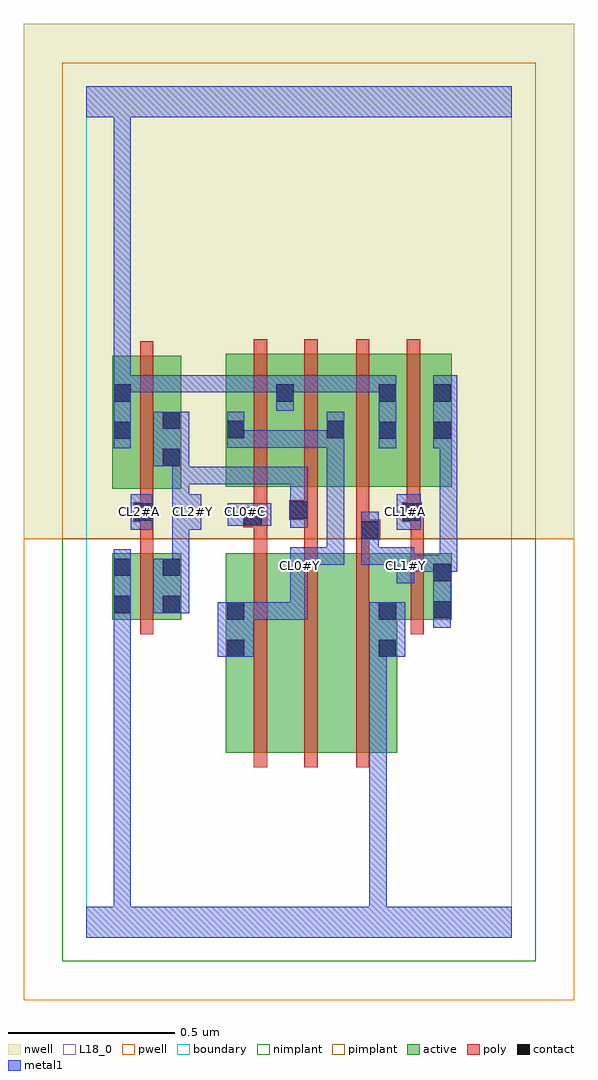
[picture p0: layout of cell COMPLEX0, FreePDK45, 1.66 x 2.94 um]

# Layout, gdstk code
import gdstk
lib = gdstk.Library(unit=1e-6, precision=1e-09)
def R(c, l, rs):  # rectangles x0, y0, x1, y1
    for r in rs: c.add(gdstk.rectangle(r[:2], r[2:], *l))
def A(c, l, x, y, w, h, nx, ny, dx, dy):  # array of equal rectangles
    R(c, l, [(x+i*dx, y+j*dy, x+i*dx+w, y+j*dy+h) for i in range(nx) for j in range(ny)])
active = (1, 0)
pwell = (2, 0)
nwell = (3, 0)
nimplant = (4, 0)
pimplant = (5, 0)
poly = (9, 0)
contact = (10, 0)
metal1 = (11, 0)
L18_0 = (18, 0)
boundary = (235, 0)

complex0 = lib.new_cell('COMPLEX0')
R(complex0, active, [(0.42,0.556,0.48,1.156), (0.42,0.556,0.6,1.156), (0.6,0.556,0.752,1.156), (0.752,0.556,0.936,1.156), (0.876,0.556,0.936,1.156), (0.078,0.956,0.138,1.156), (0.078,0.956,0.286,1.156), (0.226,0.956,0.286,1.156), (0.876,0.956,1.1,1.156), (1.04,0.956,1.1,1.156), (0.078,1.35,0.286,1.75), (0.078,1.35,0.138,1.668), (0.226,1.35,0.286,1.644), (0.42,1.356,0.48,1.644), (0.42,1.356,0.628,1.756), (0.568,1.356,0.628,1.668), (0.568,1.356,0.78,1.756), (0.72,1.356,0.936,1.756), (0.72,1.356,0.78,1.644), (0.876,1.356,0.936,1.668), (0.876,1.356,1.1,1.756), (1.04,1.356,1.1,1.668)])
R(complex0, pwell, [(-0.188,-0.188,1.468,1.2)])
R(complex0, nwell, [(-0.188,1.2,1.468,2.748)])
R(complex0, nimplant, [(-0.072,-0.072,1.352,1.2)])
R(complex0, pimplant, [(-0.072,1.2,1.352,2.632)])
R(complex0, poly, [(0.504,0.512,0.544,1.2), (0.656,0.512,0.696,1.2), (0.812,0.512,0.852,1.2), (0.162,0.912,0.202,1.2), (0.976,0.912,1.016,1.2), (0.162,1.16,0.202,1.29), (0.504,1.16,0.544,1.274), (0.656,1.16,0.696,1.296), (0.812,1.16,0.852,1.236), (0.976,1.16,1.016,1.29), (0.812,1.196,0.884,1.256), (0.812,1.216,0.852,1.256), (0.812,1.216,0.852,1.256), (0.812,1.216,0.852,1.352), (0.472,1.234,0.544,1.294), (0.142,1.25,0.202,1.31), (0.95,1.25,1.01,1.31), (0.97,1.25,1.01,1.29), (0.97,1.25,1.016,1.29), (0.504,1.254,0.544,1.294), (0.504,1.254,0.544,1.294), (0.504,1.254,0.544,1.352), (0.61,1.256,0.696,1.316), (0.656,1.256,0.696,1.296), (0.656,1.256,0.696,1.296), (0.162,1.27,0.202,1.31), (0.162,1.27,0.202,1.31), (0.162,1.27,0.202,1.346), (0.964,1.27,1.004,1.352), (0.656,1.276,0.696,1.352), (0.162,1.306,0.202,1.794), (0.504,1.312,0.544,1.8), (0.656,1.312,0.696,1.8), (0.812,1.312,0.852,1.8), (0.964,1.312,1.004,1.8)])
R(complex0, contact, [(0.424,0.844,0.476,0.896), (0.88,0.844,0.932,0.896), (0.424,0.956,0.476,1.008), (0.88,0.956,0.932,1.008), (1.044,0.96,1.096,1.012), (0.082,0.976,0.134,1.028), (0.23,0.976,0.282,1.028), (1.044,1.072,1.096,1.124), (0.082,1.088,0.134,1.14), (0.23,1.088,0.282,1.14), (0.828,1.2,0.88,1.252), (0.476,1.238,0.528,1.29), (0.146,1.254,0.198,1.306), (0.954,1.254,1.006,1.306), (0.614,1.26,0.666,1.312), (0.23,1.418,0.282,1.47), (0.082,1.5,0.134,1.552), (0.88,1.5,0.932,1.552), (1.044,1.5,1.096,1.552), (0.424,1.502,0.476,1.554), (0.724,1.502,0.776,1.554), (0.23,1.53,0.282,1.582), (0.082,1.612,0.134,1.664), (0.572,1.612,0.624,1.664), (0.88,1.612,0.932,1.664), (1.044,1.612,1.096,1.664)])
A(complex0, metal1, 0.504, 1.64, 0.052, 0.052, 3, 1, 0.11, 0)
R(complex0, metal1, [(0,0,1.28,0.092), (0.082,0.04,0.134,0.092), (0.082,0.04,0.134,0.092), (0.082,0.04,0.134,0.092), (0.082,0.04,0.134,0.092), (0.082,0.04,0.134,0.092), (0.082,0.04,0.134,0.092), (0.082,0.04,0.134,0.092), (0.082,0.04,0.134,0.092), (0.082,0.04,0.134,1), (0.852,0.04,0.904,0.896), (0.396,0.844,0.504,1.008), (0.852,0.844,0.904,0.896), (0.852,0.844,0.904,0.896), (0.852,0.844,0.904,0.896), (0.852,0.844,0.904,0.896), (0.852,0.844,0.904,0.896), (0.852,0.844,0.904,0.896), (0.852,0.844,0.904,0.896), (0.852,0.844,0.904,0.896), (0.852,0.844,0.96,1.008), (1.044,0.932,1.096,1.152), (0.082,0.948,0.134,1), (0.082,0.948,0.134,1), (0.082,0.948,0.134,1), (0.082,0.948,0.134,1), (0.082,0.948,0.134,1), (0.082,0.948,0.134,1), (0.082,0.948,0.134,1), (0.082,0.948,0.134,1), (0.082,0.948,0.134,1.168), (0.452,0.956,0.504,1.008), (0.452,0.956,0.504,1.008), (0.452,0.956,0.666,1.008), (0.614,0.956,0.666,1.008), (0.614,0.956,0.666,1.118), (0.202,0.976,0.31,1.14), (0.614,1.066,0.666,1.174), (0.934,1.066,0.986,1.174), (0.258,1.088,0.31,1.278), (0.934,1.1,0.99,1.152), (0.938,1.1,0.99,1.152), (0.938,1.1,1.096,1.152), (1.044,1.1,1.096,1.152), (1.044,1.1,1.116,1.152), (1.064,1.1,1.116,1.524), (0.614,1.122,0.666,1.174), (0.614,1.122,0.666,1.174), (0.614,1.122,0.776,1.174), (0.724,1.122,0.776,1.174), (0.724,1.122,0.776,1.526), (0.828,1.122,0.986,1.174), (0.828,1.122,0.88,1.28), (0.134,1.226,0.198,1.334), (0.258,1.226,0.346,1.334), (0.934,1.226,1.006,1.334), (0.614,1.232,0.666,1.34), (0.426,1.238,0.556,1.306), (0.258,1.282,0.31,1.416), (0.614,1.288,0.666,1.34), (0.614,1.288,0.666,1.416), (0.258,1.364,0.31,1.416), (0.258,1.364,0.31,1.416), (0.258,1.364,0.31,1.416), (0.258,1.364,0.456,1.416), (0.258,1.364,0.31,1.47), (0.404,1.364,0.456,1.416), (0.404,1.364,0.666,1.416), (0.202,1.418,0.31,1.582), (0.082,1.472,0.134,1.692), (0.88,1.472,0.932,1.692), (1.044,1.472,1.116,1.692), (1.064,1.472,1.116,1.524), (1.064,1.472,1.116,1.524), (0.424,1.474,0.476,1.526), (0.424,1.474,0.476,1.526), (0.424,1.474,0.476,1.582), (0.424,1.474,0.666,1.526), (0.614,1.474,0.666,1.526), (0.614,1.474,0.666,1.526), (0.614,1.474,0.666,1.526), (0.614,1.474,0.776,1.526), (0.724,1.474,0.776,1.526), (0.724,1.474,0.776,1.526), (0.724,1.474,0.776,1.582), (0.572,1.584,0.624,1.692), (0.082,1.64,0.134,1.692), (0.082,1.64,0.134,1.692), (0.082,1.64,0.134,1.692), (0.082,1.64,0.134,1.692), (0.082,1.64,0.134,1.692), (0.082,1.64,0.134,1.692), (0.082,1.64,0.308,1.692), (0.082,1.64,0.134,2.52), (0.256,1.64,0.308,1.692), (0.256,1.64,0.308,1.692), (0.256,1.64,0.308,1.692), (0.256,1.64,0.556,1.692), (0.504,1.64,0.624,1.692), (0.572,1.64,0.666,1.692), (0.614,1.64,0.776,1.692), (0.724,1.64,0.776,1.692), (0.724,1.64,0.776,1.692), (0.724,1.64,0.932,1.692), (0,2.468,1.28,2.56), (0.082,2.468,0.134,2.52), (0.082,2.468,0.134,2.52), (0.082,2.468,0.134,2.52), (0.082,2.468,0.134,2.52), (0.082,2.468,0.134,2.52), (0.082,2.468,0.134,2.52), (0.082,2.468,0.134,2.52), (0.082,2.468,0.134,2.52), (0.082,2.468,0.134,2.52), (0.082,2.468,0.134,2.52), (0.082,2.468,0.134,2.52), (0.082,2.468,0.134,2.52)])
A(complex0, L18_0, 0.134, 1.254, 0.052, 0.052, 3, 1, 0.16, 0)
A(complex0, L18_0, 0.504, 1.64, 0.052, 0.052, 3, 1, 0.11, 0)
R(complex0, L18_0, [(0,0,1.28,0.092), (0.082,0.04,0.134,0.092), (0.082,0.04,0.134,0.092), (0.082,0.04,0.134,0.092), (0.082,0.04,0.134,0.092), (0.082,0.04,0.134,0.092), (0.082,0.04,0.134,0.092), (0.082,0.04,0.134,0.092), (0.082,0.04,0.134,0.092), (0.082,0.04,0.134,1), (0.852,0.04,0.904,0.896), (0.396,0.844,0.504,1.008), (0.852,0.844,0.904,0.896), (0.852,0.844,0.904,0.896), (0.852,0.844,0.904,0.896), (0.852,0.844,0.904,0.896), (0.852,0.844,0.904,0.896), (0.852,0.844,0.904,0.896), (0.852,0.844,0.904,0.896), (0.852,0.844,0.904,0.896), (0.852,0.844,0.96,1.008), (1.044,0.932,1.096,1.152), (0.082,0.948,0.134,1), (0.082,0.948,0.134,1), (0.082,0.948,0.134,1), (0.082,0.948,0.134,1), (0.082,0.948,0.134,1), (0.082,0.948,0.134,1), (0.082,0.948,0.134,1), (0.082,0.948,0.134,1), (0.082,0.948,0.134,1.168), (0.452,0.956,0.504,1.008), (0.452,0.956,0.504,1.008), (0.452,0.956,0.666,1.008), (0.614,0.956,0.666,1.008), (0.614,0.956,0.666,1.118), (0.202,0.976,0.31,1.14), (0.614,1.066,0.666,1.174), (0.934,1.066,0.986,1.174), (0.258,1.088,0.31,1.278), (0.614,1.094,0.666,1.146), (0.934,1.094,0.986,1.146), (0.934,1.1,0.99,1.152), (0.938,1.1,0.99,1.152), (0.938,1.1,1.096,1.152), (1.044,1.1,1.096,1.152), (1.044,1.1,1.116,1.152), (1.064,1.1,1.116,1.524), (0.614,1.122,0.666,1.174), (0.614,1.122,0.666,1.174), (0.614,1.122,0.776,1.174), (0.724,1.122,0.776,1.174), (0.724,1.122,0.776,1.526), (0.828,1.122,0.88,1.28), (0.828,1.122,0.986,1.174), (0.134,1.226,0.198,1.334), (0.258,1.226,0.346,1.334), (0.934,1.226,1.006,1.334), (0.614,1.232,0.666,1.34), (0.426,1.238,0.556,1.306), (0.934,1.254,0.986,1.306), (0.258,1.282,0.31,1.416), (0.614,1.288,0.666,1.34), (0.614,1.288,0.666,1.416), (0.258,1.364,0.31,1.416), (0.258,1.364,0.31,1.416), (0.258,1.364,0.31,1.416), (0.258,1.364,0.31,1.47), (0.258,1.364,0.456,1.416), (0.404,1.364,0.456,1.416), (0.404,1.364,0.666,1.416), (0.202,1.418,0.31,1.582), (0.082,1.472,0.134,1.692), (0.88,1.472,0.932,1.692), (1.044,1.472,1.116,1.692), (1.064,1.472,1.116,1.524), (1.064,1.472,1.116,1.524), (0.424,1.474,0.476,1.526), (0.424,1.474,0.476,1.526), (0.424,1.474,0.476,1.582), (0.424,1.474,0.666,1.526), (0.614,1.474,0.666,1.526), (0.614,1.474,0.666,1.526), (0.614,1.474,0.666,1.526), (0.614,1.474,0.776,1.526), (0.724,1.474,0.776,1.526), (0.724,1.474,0.776,1.526), (0.724,1.474,0.776,1.582), (0.572,1.584,0.624,1.692), (0.082,1.64,0.134,1.692), (0.082,1.64,0.134,1.692), (0.082,1.64,0.134,1.692), (0.082,1.64,0.134,1.692), (0.082,1.64,0.134,1.692), (0.082,1.64,0.134,1.692), (0.082,1.64,0.134,2.52), (0.082,1.64,0.308,1.692), (0.256,1.64,0.308,1.692), (0.256,1.64,0.308,1.692), (0.256,1.64,0.308,1.692), (0.256,1.64,0.556,1.692), (0.504,1.64,0.624,1.692), (0.572,1.64,0.666,1.692), (0.614,1.64,0.776,1.692), (0.724,1.64,0.776,1.692), (0.724,1.64,0.776,1.692), (0.724,1.64,0.932,1.692), (0,2.468,1.28,2.56), (0.082,2.468,0.134,2.52), (0.082,2.468,0.134,2.52), (0.082,2.468,0.134,2.52), (0.082,2.468,0.134,2.52), (0.082,2.468,0.134,2.52), (0.082,2.468,0.134,2.52), (0.082,2.468,0.134,2.52), (0.082,2.468,0.134,2.52), (0.082,2.468,0.134,2.52), (0.082,2.468,0.134,2.52), (0.082,2.468,0.134,2.52), (0.082,2.468,0.134,2.52)])
R(complex0, boundary, [(0,0,1.28,2.56)])
complex0.add(gdstk.Label('CL0#C', (0.48,1.28), layer=11, texttype=0))
complex0.add(gdstk.Label('CL0#Y', (0.64,1.12), layer=11, texttype=0))
complex0.add(gdstk.Label('CL1#A', (0.96,1.28), layer=11, texttype=0))
complex0.add(gdstk.Label('CL1#Y', (0.96,1.12), layer=11, texttype=0))
complex0.add(gdstk.Label('CL2#A', (0.16,1.28), layer=11, texttype=0))
complex0.add(gdstk.Label('CL2#Y', (0.32,1.28), layer=11, texttype=0))

lib.write_gds('COMPLEX0.gds')
